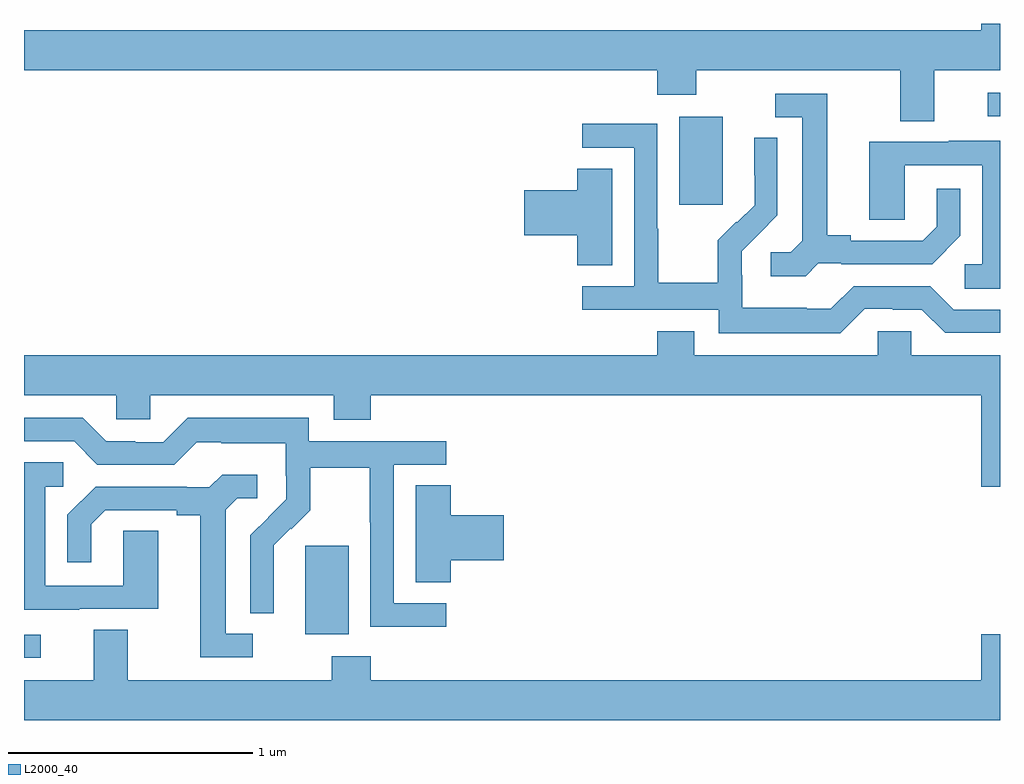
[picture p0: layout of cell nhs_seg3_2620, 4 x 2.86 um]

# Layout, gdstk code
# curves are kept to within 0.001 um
import gdstk
lib = gdstk.Library(unit=1e-6, precision=1e-09)
def R(c, l, rs):  # rectangles x0, y0, x1, y1
    for r in rs: c.add(gdstk.rectangle(r[:2], r[2:], *l))
def P(c, l, *ps):  # polygons
    for p in ps: c.add(gdstk.Polygon(p, *l))
L2000_40 = (2000, 40)

nhs_seg3_2620 = lib.new_cell('nhs_seg3_2620')
R(nhs_seg3_2620, L2000_40, [(245,739.8,245.068,739.896), (246.152,739.898,246.331,740.259), (247.685,741.657,247.864,742.018), (248.949,742.02,249,742.116)])
P(nhs_seg3_2620, L2000_40, [(248.731,742.208),(249,742.208),(249,742.4),(248.924,742.4),(248.924,742.372),(245,742.372),(245,742.208),(247.595,742.208),(247.595,742.109),(247.755,742.109),(247.755,742.208),(248.591,742.208),(248.591,742),(248.731,742)],
  [(248.256,741.417),(248.35,741.417),(248.35,741.414),(248.722,741.414),(248.838,741.53),(248.838,741.724),(248.741,741.724),(248.741,741.567),(248.684,741.51),(248.389,741.51),(248.389,741.533),(248.293,741.533),(248.293,742.113),(248.079,742.113),(248.079,742.017),(248.189,742.017),(248.189,741.509),(248.142,741.462),(248.061,741.462),(248.061,741.365),(248.204,741.365)],
  [(248.445,741.231),(248.561,741.231),(248.561,741.228),(248.679,741.228),(248.775,741.132),(249,741.132),(249,741.228),(248.811,741.228),(248.715,741.324),(248.4,741.324),(248.307,741.231),(248.207,741.231),(248.207,741.235),(247.944,741.235),(247.944,741.369),(247.942,741.369),(247.942,741.466),(248.088,741.614),(248.088,741.932),(247.992,741.932),(247.992,741.778),(247.994,741.778),(247.994,741.656),(247.923,741.585),(247.92,741.588),(247.843,741.511),(247.843,741.337),(247.599,741.337),(247.599,741.56),(247.596,741.56),(247.596,741.99),(247.287,741.99),(247.287,741.891),(247.5,741.891),(247.5,741.324),(247.287,741.324),(247.287,741.228),(247.848,741.228),(247.848,741.131),(248.345,741.131)],
  [(249,741.919),(248.789,741.919),(248.789,741.915),(248.465,741.915),(248.465,741.595),(248.61,741.595),(248.61,741.819),(248.928,741.819),(248.928,741.414),(248.856,741.414),(248.856,741.313),(249,741.313)],
  [(247.411,741.806),(247.268,741.806),(247.268,741.716),(247.05,741.716),(247.05,741.533),(247.268,741.533),(247.268,741.409),(247.411,741.409)],
  [(249,741.04),(248.637,741.04),(248.637,741.138),(248.499,741.138),(248.499,741.04),(247.747,741.04),(247.747,741.139),(247.595,741.139),(247.595,741.04),(245,741.04),(245,740.876),(245.379,740.876),(245.379,740.778),(245.517,740.778),(245.517,740.876),(246.269,740.876),(246.269,740.777),(246.422,740.777),(246.422,740.876),(248.924,740.876),(248.924,740.502),(249,740.502)],
  [(246.73,740.025),(246.516,740.025),(246.516,740.592),(246.73,740.592),(246.73,740.688),(246.168,740.688),(246.168,740.785),(245.671,740.785),(245.571,740.685),(245.456,740.685),(245.456,740.688),(245.337,740.688),(245.241,740.784),(245,740.784),(245,740.688),(245.205,740.688),(245.301,740.592),(245.616,740.592),(245.709,740.685),(245.809,740.685),(245.809,740.681),(246.072,740.681),(246.072,740.547),(246.074,740.547),(246.074,740.45),(245.928,740.302),(245.928,739.984),(246.024,739.984),(246.023,740.261),(246.093,740.331),(246.096,740.328),(246.173,740.405),(246.173,740.58),(246.418,740.58),(246.418,740.356),(246.42,740.356),(246.42,739.927),(246.73,739.927)],
  [(245.227,740.001),(245.551,740.001),(245.551,740.321),(245.406,740.321),(245.406,740.097),(245.088,740.097),(245.088,740.502),(245.161,740.502),(245.161,740.603),(245,740.603),(245,739.997),(245.227,739.997)],
  [(245.938,739.899),(245.827,739.899),(245.827,740.407),(245.874,740.454),(245.956,740.454),(245.956,740.551),(245.812,740.551),(245.76,740.499),(245.666,740.499),(245.666,740.502),(245.294,740.502),(245.178,740.386),(245.178,740.193),(245.275,740.193),(245.275,740.349),(245.332,740.406),(245.627,740.406),(245.627,740.384),(245.723,740.384),(245.723,739.803),(245.938,739.803)],
  [(246.749,740.201),(246.967,740.201),(246.967,740.384),(246.749,740.384),(246.749,740.507),(246.605,740.507),(246.605,740.11),(246.749,740.11)],
  [(249,739.897),(248.924,739.897),(248.924,739.708),(246.422,739.708),(246.422,739.807),(246.262,739.807),(246.262,739.708),(245.425,739.708),(245.425,739.916),(245.285,739.916),(245.285,739.708),(245,739.708),(245,739.544),(249,739.544)])

lib.write_gds('nhs_seg3_2620.gds')
